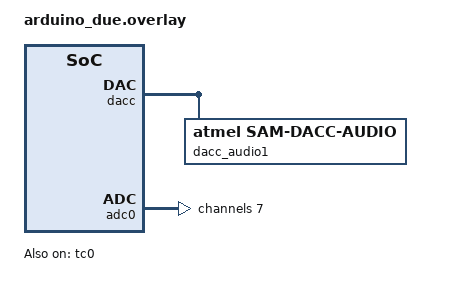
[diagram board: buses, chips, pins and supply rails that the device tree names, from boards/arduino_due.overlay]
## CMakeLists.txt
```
cmake_minimum_required(VERSION 3.20.0)
set(BOARD_ROOT "${CMAKE_CURRENT_SOURCE_DIR}/..")
find_package(Zephyr REQUIRED HINTS $ENV{ZEPHYR_BASE})
project(arduino_due_loopback)
target_sources(app PRIVATE src/main.c)
```

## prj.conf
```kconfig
CONFIG_AUDIO=y
CONFIG_AUDIO_CODEC=y
CONFIG_AUDIO_CODEC_DAC_SAM=y
CONFIG_DAC_AUDIO_SAM_MAX_BLOCK_SAMPLES=256
CONFIG_ADC=y
CONFIG_LOG=y
CONFIG_PRINTK=y
CONFIG_MAIN_STACK_SIZE=4096
CONFIG_FPU=y
CONFIG_FPU_SHARING=y
```

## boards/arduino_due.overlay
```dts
/*
 * Arduino Due audio DAC loopback overlay.
 *
 * Hardware wiring: DAC1 (PB16) → A0 (PA16 / AD7) loopback wire.
 */

/ {
	aliases {
		codec0 = &dacc_audio1;
	};
};

/* TC0 channel 0 used as 48 kHz DACC trigger */
&tc0 {
	status = "okay";
};

&dacc {
	status = "okay";

	dacc_audio1: dacc-audio {
		compatible = "atmel,sam-dacc-audio";
		atmel,timer = <&tc0>;
		atmel,tc-channel = <0>;
		atmel,trig-sel = <1>;
		pinctrl-0 = <&dacc_default>;
		pinctrl-names = "default";
		status = "okay";
	};
};

/* PA16 (A0 header) is already in adc0_default pinctrl as PA16X_ADC_AD7 */
&adc0 {
	status = "okay";
	pinctrl-0 = <&adc0_default>;
	pinctrl-names = "default";
	#address-cells = <1>;
	#size-cells = <0>;

	channel@7 {
		reg = <7>;
		zephyr,gain = "ADC_GAIN_1";
		zephyr,reference = "ADC_REF_EXTERNAL0";
		zephyr,acquisition-time = <ADC_ACQ_TIME_DEFAULT>;
		zephyr,resolution = <12>;
	};
};
```

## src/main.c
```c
/*
 * Arduino Due audio DAC loopback self-test.
 *
 * Outputs a 440 Hz sine wave on DAC1 (PB16) and captures it back on A0
 * (PA16/AD7) via a loopback wire. Prints PASS/FAIL metrics on UART.
 *
 * Adapted from fah_dac/dac_loopback/src/main.c for SAM3X8E / Arduino Due.
 * Changes vs STM32 version:
 *   - ADC device: adc0 (SAM3X8E) instead of adc1
 *   - ADC channel: 7 (PA16 = AD7) instead of 5
 */

#include <zephyr/kernel.h>
#include <zephyr/audio/codec.h>
#include <zephyr/drivers/adc.h>
#include <zephyr/logging/log.h>
#include <math.h>

#ifndef M_PI
#define M_PI 3.14159265358979323846
#endif

LOG_MODULE_REGISTER(arduino_due_loopback, LOG_LEVEL_INF);

/* ── User-tunable parameters ─────────────────────────────────────────────── */

#define SINE_FREQ_HZ    440
#define SINE_AMPLITUDE  2047 /*200*/
#define TOLERANCE_PCT   5

/* ── DAC / sine generator ────────────────────────────────────────────────── */

#define SAMPLE_RATE    48000U
#define BLOCK_SAMPLES  256U
#define BLOCK_BYTES    (BLOCK_SAMPLES * sizeof(uint16_t))
#define FREQ_STEP      ((uint32_t)(((uint64_t)SINE_FREQ_HZ << 32) / SAMPLE_RATE))
#define DAC_MIDPOINT   2048

static const struct device *codec_dev = DEVICE_DT_GET(DT_ALIAS(codec0));

static uint16_t audio_bufs[2][BLOCK_SAMPLES];
static uint8_t  active_buf;
static uint32_t phase_acc;
static volatile uint32_t dac_callbacks;
static uint16_t sine_table[256];

static void build_sine_table(void)
{
	for (int i = 0; i < 256; i++) {
		sine_table[i] = (uint16_t)(DAC_MIDPOINT +
			SINE_AMPLITUDE * sin(2.0 * M_PI * i / 256.0));
	}
}

static void fill_buffer(uint16_t *buf)
{
	for (uint32_t i = 0; i < BLOCK_SAMPLES; i++) {
		buf[i] = sine_table[(uint8_t)(phase_acc >> 24)];
		phase_acc += FREQ_STEP;
	}
}

static void tx_done(const struct device *dev, void *user_data)
{
	ARG_UNUSED(user_data);
	dac_callbacks++;
	fill_buffer(audio_bufs[active_buf]);
	audio_codec_write(dev, (uint8_t *)audio_bufs[active_buf], BLOCK_BYTES);
	active_buf ^= 1;
}

/* ── ADC loopback capture & self-test ────────────────────────────────────── */

#define ADC_CHANNEL_ID      7   /* PA16 = AD7 on SAM3X8E */
#define ADC_RESOLUTION      12
#define CAPTURE_SAMPLES     256
#define ADC_INTER_SAMPLE_US 100U

/*
 * SAM3X8E DACC output range is 1/6–5/6 ADVREF, so ADC reads back 2/3 of the
 * DAC value swing.  Scale the expected p2p and rms accordingly.
 */
#define DAC_TO_ADC_SCALE  (2.0f / 3.0f)
#define EXP_P2P    (2.0f * SINE_AMPLITUDE * DAC_TO_ADC_SCALE)
#define EXP_RMS    ((float)SINE_AMPLITUDE * DAC_TO_ADC_SCALE / 1.41421356f)
#define EXP_CREST  1.41421356f
#define EXP_MEAN   ((float)DAC_MIDPOINT)
#define EXP_FREQ   ((float)SINE_FREQ_HZ)
#define TOL        (TOLERANCE_PCT / 100.0f)

/* SAM3X8E has adc0, not adc1 */
static const struct device *adc_dev = DEVICE_DT_GET(DT_NODELABEL(adc0));

static const struct adc_channel_cfg adc_ch_cfg = {
	.gain             = ADC_GAIN_1,
	.reference        = ADC_REF_EXTERNAL0,  /* SAM ADC only supports external ref */
	.acquisition_time = ADC_ACQ_TIME_DEFAULT,
	.channel_id       = ADC_CHANNEL_ID,
	.input_positive   = ADC_CHANNEL_ID,     /* must equal channel_id for single-ended */
};

static bool in_tol(float val, float exp)
{
	float margin = exp * TOL;

	return (val >= exp - margin) && (val <= exp + margin);
}

static void capture_and_check(void)
{
	static int16_t samples[CAPTURE_SAMPLES];
	struct adc_sequence seq = {
		.channels    = BIT(ADC_CHANNEL_ID),
		.buffer_size = sizeof(int16_t),
		.resolution  = ADC_RESOLUTION,
	};

	int64_t t0 = k_uptime_get();

	for (int i = 0; i < CAPTURE_SAMPLES; i++) {
		seq.buffer = &samples[i];
		if (adc_read(adc_dev, &seq) < 0) {
			LOG_ERR("FAIL: adc_read[%d] error", i);
			return;
		}
		k_busy_wait(ADC_INTER_SAMPLE_US);
	}

	int64_t t1 = k_uptime_get();

	int16_t s_min = INT16_MAX, s_max = INT16_MIN;
	int32_t sum = 0;

	for (int i = 0; i < CAPTURE_SAMPLES; i++) {
		if (samples[i] < s_min) s_min = samples[i];
		if (samples[i] > s_max) s_max = samples[i];
		sum += samples[i];
	}

	float mean  = (float)sum / CAPTURE_SAMPLES;
	float p2p   = (float)(s_max - s_min);
	float sum_sq = 0.0f;

	for (int i = 0; i < CAPTURE_SAMPLES; i++) {
		float d = samples[i] - mean;
		sum_sq += d * d;
	}
	float rms   = sqrtf(sum_sq / CAPTURE_SAMPLES);
	float crest = (rms > 0.5f) ? (p2p / 2.0f) / rms : 0.0f;

	int crossings = 0;

	for (int i = 1; i < CAPTURE_SAMPLES; i++) {
		if ((samples[i - 1] < mean) != (samples[i] < mean)) {
			crossings++;
		}
	}
	float capture_s = (float)(t1 - t0) / 1000.0f;
	float est_freq  = (float)crossings / (2.0f * capture_s);

	bool ok_p2p   = in_tol(p2p,      EXP_P2P);
	bool ok_rms   = in_tol(rms,      EXP_RMS);
	bool ok_crest = in_tol(crest,    EXP_CREST);
	bool ok_mean  = in_tol(mean,     EXP_MEAN);
	bool ok_freq  = in_tol(est_freq, EXP_FREQ);
	bool all_pass = ok_p2p && ok_rms && ok_crest && ok_mean && ok_freq;

	int crest_i = (int)(crest * 1000.0f);
	int freq_i  = (int)est_freq;

	if (all_pass) {
		LOG_INF("PASS  p2p=%d rms=%d crest=%d.%03d freq=%dHz mean=%d",
			(int)p2p, (int)rms,
			crest_i / 1000, crest_i % 1000,
			freq_i, (int)mean);
	} else {
		LOG_ERR("FAIL  p2p=%d[%s] rms=%d[%s] crest=%d.%03d[%s] freq=%dHz[%s] mean=%d[%s]",
			(int)p2p,   ok_p2p   ? "ok" : "!",
			(int)rms,   ok_rms   ? "ok" : "!",
			crest_i / 1000, crest_i % 1000, ok_crest ? "ok" : "!",
			freq_i,     ok_freq  ? "ok" : "!",
			(int)mean,  ok_mean  ? "ok" : "!");
		LOG_ERR("  expected: p2p=%d rms=%d crest=1.414 freq=%dHz mean=%d (tol +/-%d%%)",
			(int)EXP_P2P, (int)EXP_RMS, SINE_FREQ_HZ, DAC_MIDPOINT, TOLERANCE_PCT);
	}
}

/* ── Entry point ─────────────────────────────────────────────────────────── */

int main(void)
{
	int ret;

	if (!device_is_ready(codec_dev)) {
		LOG_ERR("codec device not ready");
		return -ENODEV;
	}
	if (!device_is_ready(adc_dev)) {
		LOG_ERR("ADC device not ready");
		return -ENODEV;
	}

	ret = adc_channel_setup(adc_dev, &adc_ch_cfg);
	if (ret < 0) {
		LOG_ERR("adc_channel_setup failed: %d", ret);
		return ret;
	}

	build_sine_table();

	struct audio_codec_cfg codec_cfg = {
		.mclk_freq = 0,
		.dai_type  = AUDIO_DAI_TYPE_PCM,
		.dai_route = AUDIO_ROUTE_PLAYBACK,
		.dai_cfg.pcm = {
			.dir        = AUDIO_DAI_DIR_TX,
			.pcm_width  = AUDIO_PCM_WIDTH_16_BITS,
			.channels   = 1,
			.block_size = BLOCK_BYTES,
			.samplerate = AUDIO_PCM_RATE_48K,
		},
	};

	ret = audio_codec_configure(codec_dev, &codec_cfg);
	if (ret < 0) {
		LOG_ERR("audio_codec_configure failed: %d", ret);
		return ret;
	}

	ret = audio_codec_register_done_callback(codec_dev, tx_done, NULL, NULL, NULL);
	if (ret < 0) {
		LOG_ERR("audio_codec_register_done_callback failed: %d", ret);
		return ret;
	}

	fill_buffer(audio_bufs[0]);
	fill_buffer(audio_bufs[1]);
	active_buf = 0;

	ret = audio_codec_write(codec_dev, (uint8_t *)audio_bufs[0], BLOCK_BYTES);
	if (ret < 0) {
		LOG_ERR("audio_codec_write (prime) failed: %d", ret);
		return ret;
	}
	ret = audio_codec_write(codec_dev, (uint8_t *)audio_bufs[1], BLOCK_BYTES);
	if (ret < 0) {
		LOG_ERR("audio_codec_write (pre-queue) failed: %d", ret);
		return ret;
	}

	ret = audio_codec_start(codec_dev, AUDIO_DAI_DIR_TX);
	if (ret < 0) {
		LOG_ERR("audio_codec_start failed: %d", ret);
		return ret;
	}

	LOG_INF("loopback self-test: %d Hz, amp=%d, tol=%d%%",
		SINE_FREQ_HZ, SINE_AMPLITUDE, TOLERANCE_PCT);

	while (true) {
		k_sleep(K_SECONDS(1));
		capture_and_check();
	}

	return 0;
}
```
